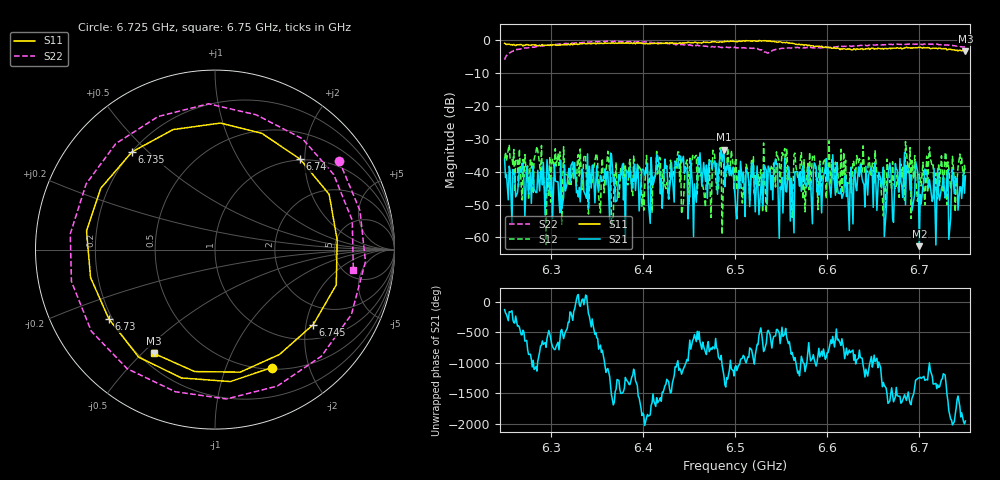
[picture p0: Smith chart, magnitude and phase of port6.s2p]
# Hz S RI R 50
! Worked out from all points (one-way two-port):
!   401 points, 6.25 GHz to 6.75 GHz, reference 50 ohm
!   highest |S21| = -33.32 dB at 6.488 GHz (marker M1); lowest = -62.6 dB at 6.7 GHz (marker M2)
!   lowest |S11| = -3.5 dB at 6.75 GHz (marker M3), VSWR 5.08, Z = 12.9 - j27.2 ohm
!   |S11| at or under -10 dB: nowhere
!   |S22| runs from -6.0 to -0.3 dB; largest |S21 - S12| = 0.038
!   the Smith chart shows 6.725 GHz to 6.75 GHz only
!   S11 on the Smith chart (normalised r, x): 6.725 GHz: 0.52, -1.46; 6.73 GHz: 0.19, -0.29; 6.735 GHz: 0.20, +0.45; 6.74 GHz: 0.98, +1.90; 6.745 GHz: 1.39, -2.20; 6.75 GHz: 0.26, -0.54
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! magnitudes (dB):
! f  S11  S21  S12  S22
! 6.25 GHz  -1.0  -36.2  -36.2  -6.0
! 6.288 GHz  -1.6  -45.9  -37.8  -1.9
! 6.295 GHz  -1.6  -45.9  -62.2  -1.7
! 6.305 GHz  -1.6  -42.8  -33.0  -1.4
! 6.334 GHz  -1.2  -39.2  -45.5  -0.8
! 6.4 GHz  -1.1  -39.3  -47.0  -0.7
! 6.418 GHz  -1.1  -38.7  -35.7  -0.9
! 6.441 GHz  -0.9  -35.3  -36.2  -1.4
! 6.456 GHz  -0.7  -43.7  -35.9  -1.6
! 6.462 GHz  -0.9  -34.3  -41.4  -1.8
! 6.488 GHz  -0.6  -33.3  -37.6  -2.2
! 6.5 GHz  -0.4  -47.2  -37.3  -2.1
! 6.584 GHz  -1.8  -55.8  -35.4  -2.4
! 6.668 GHz  -2.5  -37.4  -43.3  -1.3
! 6.688 GHz  -2.4  -39.2  -40.4  -1.3
! 6.7 GHz  -2.2  -62.6  -40.7  -1.2
! 6.725 GHz  -2.7  -44.1  -39.5  -1.4
! 6.73 GHz  -3.0  -41.2  -50.1  -1.5
! 6.735 GHz  -2.9  -43.0  -43.6  -1.7
! 6.74 GHz  -3.2  -43.2  -43.2  -1.9
! 6.745 GHz  -3.2  -44.7  -37.6  -2.1
! 6.75 GHz  -3.5  -41.3  -40.1  -2.2
